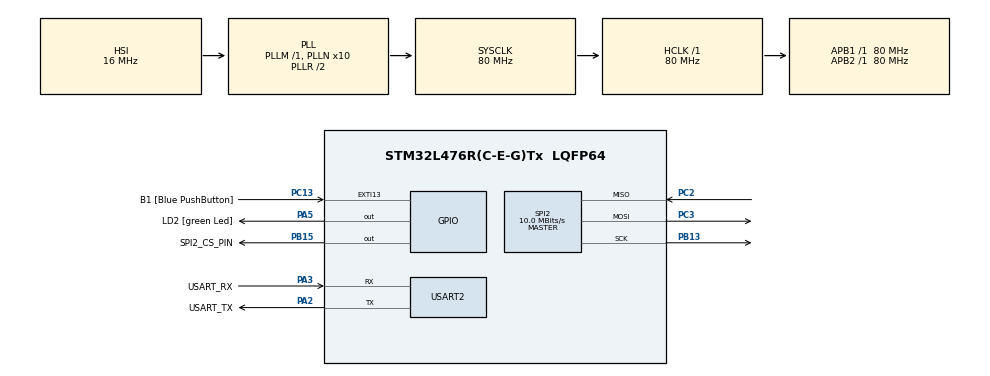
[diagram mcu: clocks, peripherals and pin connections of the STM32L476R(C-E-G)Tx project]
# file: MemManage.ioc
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Mcu.Family=STM32L4
Mcu.Name=STM32L476R(C-E-G)Tx
Mcu.Package=LQFP64
NVIC.PriorityGroup=NVIC_PRIORITYGROUP_4
PA13\ (JTMS-SWDIO).GPIO_Label=TMS
PA13\ (JTMS-SWDIO).Signal=SYS_JTMS-SWDIO
PA14\ (JTCK-SWCLK).GPIO_Label=TCK
PA14\ (JTCK-SWCLK).Signal=SYS_JTCK-SWCLK
PA2.GPIO_Label=USART_TX
PA2.GPIO_Mode=GPIO_MODE_AF_PP
PA2.GPIO_PuPd=GPIO_NOPULL
PA2.GPIO_Speed=GPIO_SPEED_FREQ_VERY_HIGH
PA2.Mode=Asynchronous
PA2.Signal=USART2_TX
PA3.GPIO_Label=USART_RX
PA3.GPIO_Mode=GPIO_MODE_AF_PP
PA3.GPIO_PuPd=GPIO_NOPULL
PA3.GPIO_Speed=GPIO_SPEED_FREQ_VERY_HIGH
PA3.Mode=Asynchronous
PA3.Signal=USART2_RX
PA5.GPIO_Label=LD2 [green Led]
PA5.GPIO_ModeDefaultOutputPP=GPIO_MODE_OUTPUT_PP
PA5.GPIO_PuPd=GPIO_NOPULL
PA5.GPIO_Speed=GPIO_SPEED_FREQ_LOW
PA5.Signal=GPIO_Output
PB13.Mode=Full_Duplex_Master
PB13.Signal=SPI2_SCK
PB15.GPIO_Label=SPI2_CS_PIN
PB15.Signal=GPIO_Output
PB3\ (JTDO-TRACESWO).GPIO_Label=SWO
PB3\ (JTDO-TRACESWO).Signal=SYS_JTDO-SWO
PC13.GPIO_Label=B1 [Blue PushButton]
PC13.GPIO_ModeDefaultEXTI=GPIO_MODE_IT_FALLING
PC13.GPIO_PuPd=GPIO_NOPULL
PC13.Signal=GPXTI13
PC14-OSC32_IN\ (PC14).Signal=RCC_OSC32_IN
PC15-OSC32_OUT\ (PC15).Signal=RCC_OSC32_OUT
PC2.Mode=Full_Duplex_Master
PC2.Signal=SPI2_MISO
PC3.Mode=Full_Duplex_Master
PC3.Signal=SPI2_MOSI
PH0-OSC_IN\ (PH0).Signal=RCC_OSC_IN
PH1-OSC_OUT\ (PH1).Signal=RCC_OSC_OUT
ProjectManager.HeapSize=0x200
ProjectManager.StackSize=0x400
ProjectManager.TargetToolchain=SW4STM32
RCC.ADCFreq_Value=64000000
RCC.AHBFreq_Value=80000000
RCC.APB1Freq_Value=80000000
RCC.APB1TimFreq_Value=80000000
RCC.APB2Freq_Value=80000000
RCC.APB2TimFreq_Value=80000000
RCC.CortexFreq_Value=80000000
RCC.HCLKFreq_Value=80000000
RCC.HSE_VALUE=8000000
RCC.HSI_VALUE=16000000
RCC.LSE_VALUE=32768
RCC.MSI_VALUE=4000000
RCC.PLLN=10
RCC.PLLSourceVirtual=RCC_PLLSOURCE_HSI
RCC.PREFETCH_ENABLE=1
RCC.SYSCLKFreq_VALUE=80000000
RCC.SYSCLKSource=RCC_SYSCLKSOURCE_PLLCLK
RCC.USBFreq_Value=64000000
RCC.VCOOutputFreq_Value=160000000
SPI2.BaudRatePrescaler=SPI_BAUDRATEPRESCALER_8
SPI2.CalculateBaudRate=10.0 MBits/s
SPI2.DataSize=SPI_DATASIZE_8BIT
SPI2.Direction=SPI_DIRECTION_2LINES
SPI2.Mode=SPI_MODE_MASTER
SPI2.VirtualType=VM_MASTER
USART2.VirtualMode-Asynchronous=VM_ASYNC
USART2.WordLength=WORDLENGTH_8B
board=NUCLEO-L476RG

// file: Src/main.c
/**
  ******************************************************************************
  * File Name          : main.c
  * Description        : Main program body
  ******************************************************************************
  ** This notice applies to any and all portions of this file
  * that are not between comment pairs USER CODE BEGIN and
  * USER CODE END. Other portions of this file, whether
  * inserted by the user or by software development tools
  * are owned by their respective copyright owners.
  *
  * COPYRIGHT(c) 2017 STMicroelectronics
  *
  * Redistribution and use in source and binary forms, with or without modification,
  * are permitted provided that the following conditions are met:
  *   1. Redistributions of source code must retain the above copyright notice,
  *      this list of conditions and the following disclaimer.
  *   2. Redistributions in binary form must reproduce the above copyright notice,
  *      this list of conditions and the following disclaimer in the documentation
  *      and/or other materials provided with the distribution.
  *   3. Neither the name of STMicroelectronics nor the names of its contributors
  *      may be used to endorse or promote products derived from this software
  *      without specific prior written permission.
  *
  * THIS SOFTWARE IS PROVIDED BY THE COPYRIGHT HOLDERS AND CONTRIBUTORS "AS IS"
  * AND ANY EXPRESS OR IMPLIED WARRANTIES, INCLUDING, BUT NOT LIMITED TO, THE
  * IMPLIED WARRANTIES OF MERCHANTABILITY AND FITNESS FOR A PARTICULAR PURPOSE ARE
  * DISCLAIMED. IN NO EVENT SHALL THE COPYRIGHT HOLDER OR CONTRIBUTORS BE LIABLE
  * FOR ANY DIRECT, INDIRECT, INCIDENTAL, SPECIAL, EXEMPLARY, OR CONSEQUENTIAL
  * DAMAGES (INCLUDING, BUT NOT LIMITED TO, PROCUREMENT OF SUBSTITUTE GOODS OR
  * SERVICES; LOSS OF USE, DATA, OR PROFITS; OR BUSINESS INTERRUPTION) HOWEVER
  * CAUSED AND ON ANY THEORY OF LIABILITY, WHETHER IN CONTRACT, STRICT LIABILITY,
  * OR TORT (INCLUDING NEGLIGENCE OR OTHERWISE) ARISING IN ANY WAY OUT OF THE USE
  * OF THIS SOFTWARE, EVEN IF ADVISED OF THE POSSIBILITY OF SUCH DAMAGE.
  *
  ******************************************************************************
  */
#include "main.h"
#include "stm32l4xx_hal.h"

/* USER CODE BEGIN Includes */
#include <stdarg.h>//for serial debug
#include <stdint.h>
#include <spi_flash.h>

#include <backlog_if.h>
/* USER CODE END Includes */

SPI_HandleTypeDef hspi2;

UART_HandleTypeDef huart2;

/* USER CODE BEGIN PV */
/* Private variables ---------------------------------------------------------*/

/* USER CODE END PV */

void SystemClock_Config(void);
static void MX_GPIO_Init(void);
static void MX_SPI2_Init(void);
static void MX_USART2_UART_Init(void);

/* USER CODE BEGIN PFP */
/* Private function prototypes -----------------------------------------------*/
void vcom_Send( char *format, ... );

int ret=0;
static uint16_t iw;//for serial debug
static char buff[BUFSIZE+16];//for serial debug
/* USER CODE END PFP */

/* USER CODE BEGIN 0 */
uint8_t SectorBuffwrite[4096];
uint8_t SectorBuffread[4096];

ALT_BacklogDataTypes Data;
/* USER CODE END 0 */

int main(void)
{

  /* USER CODE BEGIN 1 */
	int p;
  /* USER CODE END 1 */

  /* MCU Configuration----------------------------------------------------------*/

  /* Reset of all peripherals, Initializes the Flash interface and the Systick. */
  HAL_Init();

  /* Configure the system clock */
  SystemClock_Config();

  /* Initialize all configured peripherals */
  MX_GPIO_Init();
  MX_SPI2_Init();
  MX_USART2_UART_Init();

  /* USER CODE BEGIN 2 */
  //ClearTagRecord();
  initRecordManager();

  ClearTagRecord();
  initRecordManager();
  debug_DisplaySectorTable(ALTRECORD);
  debug_DisplaySectorTable(EMGRECORD);
  debug_DisplaySectorTable(OTARecord);
  debug_DisplaySectorTable(CANRecord);
	PRINTF("Flash initialize Done* \n\r");
	for(p=0;p<70;p++)
	{
		Data.recordNum=p;
		if(ERROR==EnterRecord(CANRECORD,&Data))
			p--;
	    if(p%4==0)
	    	ReadRecord(CANRecord,&Data);
	}
	debug_DisplaySectorTable(CANRECORD);
	PRINTF("\n\r\n\r Enter to stanby mode save all record \n\r");
	SaveAllRecord();//enter low power mode

	PRINTF("\n\r\n\r Restart with init \n\r");
	initRecordManager();
	debug_DisplaySectorTable(CANRecord);

	for(p=0;p<(70);p++)
	{
		//EnterRecord(ALTRecord,&Data);
	    //if(p%2==0)
	    	ReadRecord(CANRECORD,&Data);
	    	PRINTF("\n\rData Record Read Number : %u",Data.recordNum);
	}

	debug_DisplaySectorTable(CANRECORD);
  /* USER CODE END 2 */

  /* Infinite loop */
  while (1)
  {

  }

}

/** System Clock Configuration
*/
void SystemClock_Config(void)
{

  RCC_OscInitTypeDef RCC_OscInitStruct;
  RCC_ClkInitTypeDef RCC_ClkInitStruct;
  RCC_PeriphCLKInitTypeDef PeriphClkInit;

    /**Initializes the CPU, AHB and APB busses clocks
    */
  RCC_OscInitStruct.OscillatorType = RCC_OSCILLATORTYPE_HSI;
  RCC_OscInitStruct.HSIState = RCC_HSI_ON;
  RCC_OscInitStruct.HSICalibrationValue = 16;
  RCC_OscInitStruct.PLL.PLLState = RCC_PLL_ON;
  RCC_OscInitStruct.PLL.PLLSource = RCC_PLLSOURCE_HSI;
  RCC_OscInitStruct.PLL.PLLM = 1;
  RCC_OscInitStruct.PLL.PLLN = 10;
  RCC_OscInitStruct.PLL.PLLP = RCC_PLLP_DIV7;
  RCC_OscInitStruct.PLL.PLLQ = RCC_PLLQ_DIV2;
  RCC_OscInitStruct.PLL.PLLR = RCC_PLLR_DIV2;
  if (HAL_RCC_OscConfig(&RCC_OscInitStruct) != HAL_OK)
  {
    _Error_Handler(__FILE__, __LINE__);
  }

    /**Initializes the CPU, AHB and APB busses clocks
    */
  RCC_ClkInitStruct.ClockType = RCC_CLOCKTYPE_HCLK|RCC_CLOCKTYPE_SYSCLK
                              |RCC_CLOCKTYPE_PCLK1|RCC_CLOCKTYPE_PCLK2;
  RCC_ClkInitStruct.SYSCLKSource = RCC_SYSCLKSOURCE_PLLCLK;
  RCC_ClkInitStruct.AHBCLKDivider = RCC_SYSCLK_DIV1;
  RCC_ClkInitStruct.APB1CLKDivider = RCC_HCLK_DIV1;
  RCC_ClkInitStruct.APB2CLKDivider = RCC_HCLK_DIV1;

  if (HAL_RCC_ClockConfig(&RCC_ClkInitStruct, FLASH_LATENCY_4) != HAL_OK)
  {
    _Error_Handler(__FILE__, __LINE__);
  }

  PeriphClkInit.PeriphClockSelection = RCC_PERIPHCLK_USART2;
  PeriphClkInit.Usart2ClockSelection = RCC_USART2CLKSOURCE_PCLK1;
  if (HAL_RCCEx_PeriphCLKConfig(&PeriphClkInit) != HAL_OK)
  {
    _Error_Handler(__FILE__, __LINE__);
  }

    /**Configure the main internal regulator output voltage
    */
  if (HAL_PWREx_ControlVoltageScaling(PWR_REGULATOR_VOLTAGE_SCALE1) != HAL_OK)
  {
    _Error_Handler(__FILE__, __LINE__);
  }

    /**Configure the Systick interrupt time
    */
  HAL_SYSTICK_Config(HAL_RCC_GetHCLKFreq()/1000);

    /**Configure the Systick
    */
  HAL_SYSTICK_CLKSourceConfig(SYSTICK_CLKSOURCE_HCLK);

  /* SysTick_IRQn interrupt configuration */
  HAL_NVIC_SetPriority(SysTick_IRQn, 0, 0);
}

/* SPI2 init function */
static void MX_SPI2_Init(void)
{

  hspi2.Instance = SPI2;
  hspi2.Init.Mode = SPI_MODE_MASTER;
  hspi2.Init.Direction = SPI_DIRECTION_2LINES;
  hspi2.Init.DataSize = SPI_DATASIZE_8BIT;
  hspi2.Init.CLKPolarity = SPI_POLARITY_LOW;
  hspi2.Init.CLKPhase = SPI_PHASE_1EDGE;
  hspi2.Init.NSS = SPI_NSS_SOFT;
  hspi2.Init.BaudRatePrescaler = SPI_BAUDRATEPRESCALER_8;
  hspi2.Init.FirstBit = SPI_FIRSTBIT_MSB;
  hspi2.Init.TIMode = SPI_TIMODE_DISABLE;
  hspi2.Init.CRCCalculation = SPI_CRCCALCULATION_DISABLE;
  hspi2.Init.CRCPolynomial = 7;
  hspi2.Init.CRCLength = SPI_CRC_LENGTH_DATASIZE;
  hspi2.Init.NSSPMode = SPI_NSS_PULSE_ENABLE;
  if (HAL_SPI_Init(&hspi2) != HAL_OK)
  {
    _Error_Handler(__FILE__, __LINE__);
  }

}

/* USART2 init function */
static void MX_USART2_UART_Init(void)
{

  huart2.Instance = USART2;
  huart2.Init.BaudRate = 115200;
  huart2.Init.WordLength = UART_WORDLENGTH_8B;
  huart2.Init.StopBits = UART_STOPBITS_1;
  huart2.Init.Parity = UART_PARITY_NONE;
  huart2.Init.Mode = UART_MODE_TX_RX;
  huart2.Init.HwFlowCtl = UART_HWCONTROL_NONE;
  huart2.Init.OverSampling = UART_OVERSAMPLING_16;
  huart2.Init.OneBitSampling = UART_ONE_BIT_SAMPLE_DISABLE;
  huart2.AdvancedInit.AdvFeatureInit = UART_ADVFEATURE_NO_INIT;
  if (HAL_UART_Init(&huart2) != HAL_OK)
  {
    _Error_Handler(__FILE__, __LINE__);
  }

}

/** Configure pins as
        * Analog
        * Input
        * Output
        * EVENT_OUT
        * EXTI
*/
static void MX_GPIO_Init(void)
{

  GPIO_InitTypeDef GPIO_InitStruct;

  /* GPIO Ports Clock Enable */
  __HAL_RCC_GPIOC_CLK_ENABLE();
  __HAL_RCC_GPIOH_CLK_ENABLE();
  __HAL_RCC_GPIOA_CLK_ENABLE();
  __HAL_RCC_GPIOB_CLK_ENABLE();

  /*Configure GPIO pin Output Level */
  HAL_GPIO_WritePin(LD2_GPIO_Port, LD2_Pin, GPIO_PIN_RESET);

  /*Configure GPIO pin Output Level */
  HAL_GPIO_WritePin(SPI2_CS_PIN_GPIO_Port, SPI2_CS_PIN_Pin, GPIO_PIN_RESET);

  /*Configure GPIO pin : B1_Pin */
  GPIO_InitStruct.Pin = B1_Pin;
  GPIO_InitStruct.Mode = GPIO_MODE_IT_FALLING;
  GPIO_InitStruct.Pull = GPIO_NOPULL;
  HAL_GPIO_Init(B1_GPIO_Port, &GPIO_InitStruct);

  /*Configure GPIO pin : LD2_Pin */
  GPIO_InitStruct.Pin = LD2_Pin;
  GPIO_InitStruct.Mode = GPIO_MODE_OUTPUT_PP;
  GPIO_InitStruct.Pull = GPIO_NOPULL;
  GPIO_InitStruct.Speed = GPIO_SPEED_FREQ_LOW;
  HAL_GPIO_Init(LD2_GPIO_Port, &GPIO_InitStruct);

  /*Configure GPIO pin : SPI2_CS_PIN_Pin */
  GPIO_InitStruct.Pin = SPI2_CS_PIN_Pin;
  GPIO_InitStruct.Mode = GPIO_MODE_OUTPUT_PP;
  GPIO_InitStruct.Pull = GPIO_NOPULL;
  GPIO_InitStruct.Speed = GPIO_SPEED_FREQ_LOW;
  HAL_GPIO_Init(SPI2_CS_PIN_GPIO_Port, &GPIO_InitStruct);

}

/* USER CODE BEGIN 4 */
void vcom_Send( char *format, ... )//for serial debug
{
  va_list args;
  va_start(args, format);

  /*convert into string at buff[0] of length iw*/
  iw = vsprintf(&buff[0], format, args);

  HAL_UART_Transmit(&huart2,(uint8_t *)&buff[0], iw, 300);

  va_end(args);
}

/* USER CODE END 4 */

void _Error_Handler(char * file, int line)
{
  while(1)
  {
  }
}

/************************ (C) COPYRIGHT STMicroelectronics *****END OF FILE****/
